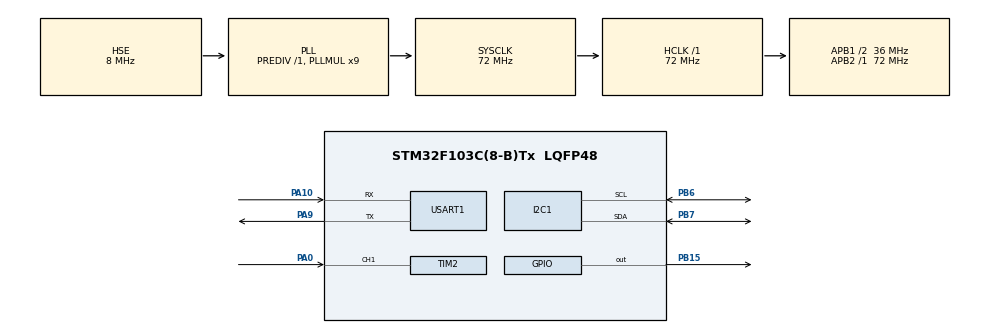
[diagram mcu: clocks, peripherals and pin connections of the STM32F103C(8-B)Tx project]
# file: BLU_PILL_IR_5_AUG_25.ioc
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I2C1.I2C_Mode=I2C_Fast
Mcu.Family=STM32F1
Mcu.Name=STM32F103C(8-B)Tx
Mcu.Package=LQFP48
NVIC.PriorityGroup=NVIC_PRIORITYGROUP_4
NVIC.TIM2_IRQn=true\:0\:0\:false\:false\:true\:true\:true\:true
PA0-WKUP.Signal=S_TIM2_CH1_ETR
PA10.Mode=Asynchronous
PA10.Signal=USART1_RX
PA13.Mode=Serial_Wire
PA13.Signal=SYS_JTMS-SWDIO
PA14.Mode=Serial_Wire
PA14.Signal=SYS_JTCK-SWCLK
PA9.Mode=Asynchronous
PA9.Signal=USART1_TX
PB15.Signal=GPIO_Output
PB6.Mode=I2C
PB6.Signal=I2C1_SCL
PB7.Mode=I2C
PB7.Signal=I2C1_SDA
PD0-OSC_IN.Mode=HSE-External-Oscillator
PD0-OSC_IN.Signal=RCC_OSC_IN
PD1-OSC_OUT.Mode=HSE-External-Oscillator
PD1-OSC_OUT.Signal=RCC_OSC_OUT
ProjectManager.HeapSize=0x200
ProjectManager.StackSize=0x400
ProjectManager.TargetToolchain=STM32CubeIDE
RCC.AHBFreq_Value=72000000
RCC.APB1CLKDivider=RCC_HCLK_DIV2
RCC.APB1Freq_Value=36000000
RCC.APB1TimFreq_Value=72000000
RCC.APB2Freq_Value=72000000
RCC.APB2TimFreq_Value=72000000
RCC.HCLKFreq_Value=72000000
RCC.PLLMUL=RCC_PLL_MUL9
RCC.PLLSourceVirtual=RCC_PLLSOURCE_HSE
RCC.SYSCLKFreq_VALUE=72000000
RCC.SYSCLKSource=RCC_SYSCLKSOURCE_PLLCLK
RCC.USBFreq_Value=72000000
SH.S_TIM2_CH1_ETR.0=TIM2_CH1,Input_Capture1_from_TI1
TIM2.Channel-Input_Capture1_from_TI1=TIM_CHANNEL_1
TIM2.ICPolarity_CH1=TIM_INPUTCHANNELPOLARITY_FALLING
TIM2.Prescaler=71
USART1.VirtualMode=VM_ASYNC
VP_TIM2_VS_ClockSourceINT.Mode=Internal
board=custom

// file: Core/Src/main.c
/* USER CODE BEGIN Header */
/**
  ******************************************************************************
  * @file           : main.c
  * @brief          : Main program body
  ******************************************************************************
  * @attention
  *
  * Copyright (c) 2025 STMicroelectronics.
  * All rights reserved.
  *
  * This software is licensed under terms that can be found in the LICENSE file
  * in the root directory of this software component.
  * If no LICENSE file comes with this software, it is provided AS-IS.
  *
  ******************************************************************************
  */
/* USER CODE END Header */
#include "main.h"

/* USER CODE BEGIN Includes */
#include<string.h>
#include<stdio.h>
/* USER CODE END Includes */

/* USER CODE BEGIN PM */
#define MSG_LENGTH  4
/* USER CODE END PM */

I2C_HandleTypeDef hi2c1;

TIM_HandleTypeDef htim2;

UART_HandleTypeDef huart1;

/* USER CODE BEGIN PV */
volatile uint8_t bit_index = 0;
volatile uint32_t ir_code = 0;
volatile uint32_t last_time = 0;
volatile uint8_t receiving = 0;
volatile uint8_t done = 0;
uint32_t res;
uint8_t TX_Buffer[MSG_LENGTH];
uint8_t Master_Id= 10;
uint8_t buff[] = "h";

/* USER CODE END PV */

void SystemClock_Config(void);
static void MX_GPIO_Init(void);
static void MX_I2C1_Init(void);
static void MX_USART1_UART_Init(void);
static void MX_TIM2_Init(void);
/* USER CODE BEGIN PFP */
uint32_t actual_data(uint32_t ir_val);

/* USER CODE END PFP */

int main(void)
{

  /* MCU Configuration--------------------------------------------------------*/

  /* Reset of all peripherals, Initializes the Flash interface and the Systick. */
  HAL_Init();

  /* Configure the system clock */
  SystemClock_Config();

  /* Initialize all configured peripherals */
  MX_GPIO_Init();
  MX_I2C1_Init();
  MX_USART1_UART_Init();
  MX_TIM2_Init();
  /* USER CODE BEGIN 2 */
  HAL_TIM_IC_Start_IT(&htim2, TIM_CHANNEL_1);

  /* USER CODE END 2 */

  /* Infinite loop */
  while (1)
  {

    /* USER CODE BEGIN 3 */

	  if (done)
	 	  {
	 	      HAL_GPIO_WritePin(GPIOB, GPIO_PIN_15, GPIO_PIN_SET);
	 	      res = actual_data(ir_code);
	 	     // if (res== 0X725)
	 	     // {
	 	          uint8_t soldier_id = (res >> 8) & 0xFF;
	 	          uint8_t firing_mode = (res >> 4) & 0x0F;
	 	          uint8_t weapon_id = res & 0x0F;
	 	          TX_Buffer[0] = Master_Id;
	 	          TX_Buffer[1] = soldier_id;
	 	          TX_Buffer[2] = firing_mode;
	 	          TX_Buffer[3] = weapon_id;

	 	          char msg[64];
	 	          snprintf(msg, sizeof(msg),
	 	                   "Sending: master id = %d Soldier=%d, Mode=%d, Weapon=%d\r\n",Master_Id,
	 	                   soldier_id, firing_mode, weapon_id);
	 	          HAL_UART_Transmit(&huart1, (uint8_t *)msg, strlen(msg), HAL_MAX_DELAY);

	 	          // Send data over I2C to slave at 0x08
	 	          if (HAL_I2C_Master_Transmit(&hi2c1, 0x08 << 1, TX_Buffer, 4, 1000) == HAL_OK)
	 	          {
	 	              char ok_msg[] = "I2C: Send OK\r\n";
	 	              HAL_UART_Transmit(&huart1, (uint8_t *)ok_msg, strlen(ok_msg), HAL_MAX_DELAY);
	 	          }
	 	          else
	 	          {
	 	              char err_msg[] = "I2C: Send FAIL\r\n";
	 	              HAL_UART_Transmit(&huart1, (uint8_t *)err_msg, strlen(err_msg), HAL_MAX_DELAY);
	 	          }
	 	    //  }
	 	     /* else
	 	      {

	 	          char msg[32];
	 	          snprintf(msg, sizeof(msg), "Galat Ir garbage: 0x%04lX\r\n", res);
	 	          HAL_UART_Transmit(&huart1, (uint8_t *)msg, strlen(msg), HAL_MAX_DELAY);
	 	      }*/

	 	      done = 0;
	 	  }

  }
  /* USER CODE END 3 */
}

void SystemClock_Config(void)
{
  RCC_OscInitTypeDef RCC_OscInitStruct = {0};
  RCC_ClkInitTypeDef RCC_ClkInitStruct = {0};

  /** Initializes the RCC Oscillators according to the specified parameters
  * in the RCC_OscInitTypeDef structure.
  */
  RCC_OscInitStruct.OscillatorType = RCC_OSCILLATORTYPE_HSE;
  RCC_OscInitStruct.HSEState = RCC_HSE_ON;
  RCC_OscInitStruct.HSEPredivValue = RCC_HSE_PREDIV_DIV1;
  RCC_OscInitStruct.HSIState = RCC_HSI_ON;
  RCC_OscInitStruct.PLL.PLLState = RCC_PLL_ON;
  RCC_OscInitStruct.PLL.PLLSource = RCC_PLLSOURCE_HSE;
  RCC_OscInitStruct.PLL.PLLMUL = RCC_PLL_MUL9;
  if (HAL_RCC_OscConfig(&RCC_OscInitStruct) != HAL_OK)
  {
    Error_Handler();
  }

  /** Initializes the CPU, AHB and APB buses clocks
  */
  RCC_ClkInitStruct.ClockType = RCC_CLOCKTYPE_HCLK|RCC_CLOCKTYPE_SYSCLK
                              |RCC_CLOCKTYPE_PCLK1|RCC_CLOCKTYPE_PCLK2;
  RCC_ClkInitStruct.SYSCLKSource = RCC_SYSCLKSOURCE_PLLCLK;
  RCC_ClkInitStruct.AHBCLKDivider = RCC_SYSCLK_DIV1;
  RCC_ClkInitStruct.APB1CLKDivider = RCC_HCLK_DIV2;
  RCC_ClkInitStruct.APB2CLKDivider = RCC_HCLK_DIV1;

  if (HAL_RCC_ClockConfig(&RCC_ClkInitStruct, FLASH_LATENCY_2) != HAL_OK)
  {
    Error_Handler();
  }
}

static void MX_I2C1_Init(void)
{

  hi2c1.Instance = I2C1;
  hi2c1.Init.ClockSpeed = 400000;
  hi2c1.Init.DutyCycle = I2C_DUTYCYCLE_2;
  hi2c1.Init.OwnAddress1 = 0;
  hi2c1.Init.AddressingMode = I2C_ADDRESSINGMODE_7BIT;
  hi2c1.Init.DualAddressMode = I2C_DUALADDRESS_DISABLE;
  hi2c1.Init.OwnAddress2 = 0;
  hi2c1.Init.GeneralCallMode = I2C_GENERALCALL_DISABLE;
  hi2c1.Init.NoStretchMode = I2C_NOSTRETCH_DISABLE;
  if (HAL_I2C_Init(&hi2c1) != HAL_OK)
  {
    Error_Handler();
  }

}

static void MX_TIM2_Init(void)
{

  TIM_ClockConfigTypeDef sClockSourceConfig = {0};
  TIM_MasterConfigTypeDef sMasterConfig = {0};
  TIM_IC_InitTypeDef sConfigIC = {0};

  htim2.Instance = TIM2;
  htim2.Init.Prescaler = 71;
  htim2.Init.CounterMode = TIM_COUNTERMODE_UP;
  htim2.Init.Period = 65535;
  htim2.Init.ClockDivision = TIM_CLOCKDIVISION_DIV1;
  htim2.Init.AutoReloadPreload = TIM_AUTORELOAD_PRELOAD_DISABLE;
  if (HAL_TIM_Base_Init(&htim2) != HAL_OK)
  {
    Error_Handler();
  }
  sClockSourceConfig.ClockSource = TIM_CLOCKSOURCE_INTERNAL;
  if (HAL_TIM_ConfigClockSource(&htim2, &sClockSourceConfig) != HAL_OK)
  {
    Error_Handler();
  }
  if (HAL_TIM_IC_Init(&htim2) != HAL_OK)
  {
    Error_Handler();
  }
  sMasterConfig.MasterOutputTrigger = TIM_TRGO_RESET;
  sMasterConfig.MasterSlaveMode = TIM_MASTERSLAVEMODE_DISABLE;
  if (HAL_TIMEx_MasterConfigSynchronization(&htim2, &sMasterConfig) != HAL_OK)
  {
    Error_Handler();
  }
  sConfigIC.ICPolarity = TIM_INPUTCHANNELPOLARITY_FALLING;
  sConfigIC.ICSelection = TIM_ICSELECTION_DIRECTTI;
  sConfigIC.ICPrescaler = TIM_ICPSC_DIV1;
  sConfigIC.ICFilter = 0;
  if (HAL_TIM_IC_ConfigChannel(&htim2, &sConfigIC, TIM_CHANNEL_1) != HAL_OK)
  {
    Error_Handler();
  }

}

static void MX_USART1_UART_Init(void)
{

  huart1.Instance = USART1;
  huart1.Init.BaudRate = 115200;
  huart1.Init.WordLength = UART_WORDLENGTH_8B;
  huart1.Init.StopBits = UART_STOPBITS_1;
  huart1.Init.Parity = UART_PARITY_NONE;
  huart1.Init.Mode = UART_MODE_TX_RX;
  huart1.Init.HwFlowCtl = UART_HWCONTROL_NONE;
  huart1.Init.OverSampling = UART_OVERSAMPLING_16;
  if (HAL_UART_Init(&huart1) != HAL_OK)
  {
    Error_Handler();
  }

}

static void MX_GPIO_Init(void)
{
  GPIO_InitTypeDef GPIO_InitStruct = {0};

  /* GPIO Ports Clock Enable */
  __HAL_RCC_GPIOD_CLK_ENABLE();
  __HAL_RCC_GPIOA_CLK_ENABLE();
  __HAL_RCC_GPIOB_CLK_ENABLE();

  /*Configure GPIO pin Output Level */
  HAL_GPIO_WritePin(GPIOB, GPIO_PIN_15, GPIO_PIN_RESET);

  /*Configure GPIO pin : PB15 */
  GPIO_InitStruct.Pin = GPIO_PIN_15;
  GPIO_InitStruct.Mode = GPIO_MODE_OUTPUT_PP;
  GPIO_InitStruct.Pull = GPIO_NOPULL;
  GPIO_InitStruct.Speed = GPIO_SPEED_FREQ_LOW;
  HAL_GPIO_Init(GPIOB, &GPIO_InitStruct);

}

/* USER CODE BEGIN 4 */

void HAL_TIM_IC_CaptureCallback(TIM_HandleTypeDef *htim)
{
	if (htim->Instance == TIM2 && htim->Channel == HAL_TIM_ACTIVE_CHANNEL_1)
	    {
	        uint32_t now = HAL_TIM_ReadCapturedValue(htim, TIM_CHANNEL_1);
	        uint32_t duration;

	        // Handle timer overflow
	        if (now >= last_time)
	            duration = now - last_time;
	        else
	            duration = (0xFFFF - last_time + now + 1);

	        last_time = now;

	        // NEC protocol:
	        // Start pulse = 9ms LOW + 4.5ms HIGH = ~13.5ms gap
	        // '0' = 560us pulse + 560us space (~1.1ms total)
	        // '1' = 560us pulse + 1.69ms space (~2.2ms total)

	        if (!receiving)
	        {
	            // Looking for start pulse (~9ms LOW + 4.5ms HIGH = total ~13.5ms)
	            if (duration > 12000 && duration < 14000)
	            {
	                receiving = 1;
	                bit_index = 0;
	                ir_code = 0;
	            }
	        }
	        else
	        {
	            // Interpret pulse as 0 or 1 based on duration
	            if (duration > 1000 && duration < 1400)
	            {
	                // Logic 0s
	                ir_code |= (0 << bit_index);
	                bit_index++;
	            }
	            else if (duration > 2000 && duration < 2500)
	            {
	                // Logic 1
	                ir_code |= (1UL << bit_index);
	                bit_index++;
	            }

	            if (bit_index >= 32)
	            {
	                receiving = 0;
	                done = 1;
	            }
	        }
	    }

}

uint32_t actual_data(uint32_t ir_val)
{

	 uint8_t inverted_command = ir_val & 0xFF;               // Last byte (0x12)
	 uint8_t inverted_address = (ir_val >> 16) & 0xFF;       // Third byte from left (0x25)
	 res = (inverted_command<<8)|inverted_address;

	 return(res);

}

/* USER CODE END 4 */

void Error_Handler(void)
{
  __disable_irq();
  while (1)
  {
  }
}
